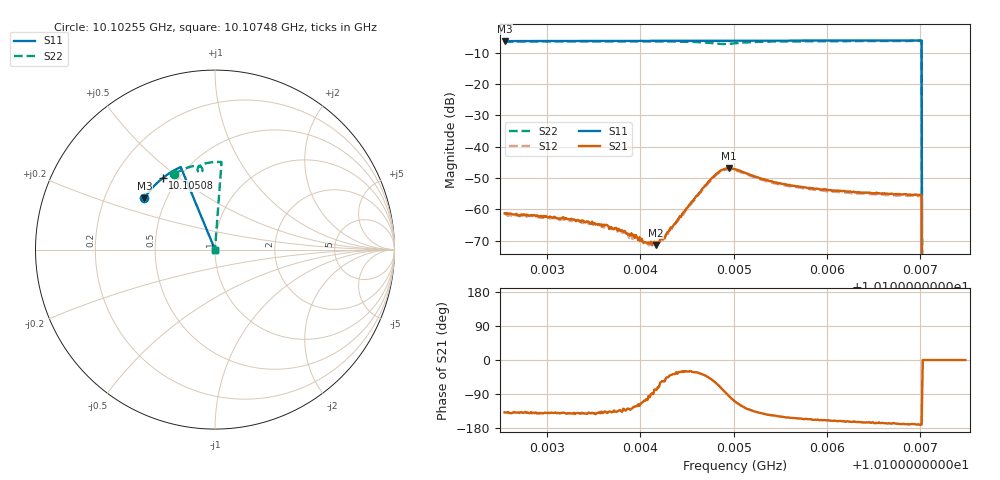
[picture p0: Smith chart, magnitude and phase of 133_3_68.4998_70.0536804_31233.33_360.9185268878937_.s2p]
#  HZ  S  RI  R  50.00
! Rohde & Schwarz Vector Network Analyzer
! Rohde-Schwarz,ZNB20-2Port,1311601062101988,3.16
! Created: UTC 3/20/2024, 5:09:43 PM
! freq[Hz]  re:S11  im:S11  re:S21  im:S21  re:S12  im:S12  re:S22  im:S22
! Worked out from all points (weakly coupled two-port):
!   401 points, 10.10255 GHz to 10.10748 GHz, reference 50 ohm
!   highest |S21| = -46.89 dB at 10.10495 GHz (marker M1); lowest = -71.4 dB at 10.10416 GHz (marker M2)
!   lowest |S11| = -6.3 dB at 10.10255 GHz (marker M3), VSWR 2.90, Z = 18.9 + j14.1 ohm
!   |S11| at or under -10 dB: 10.10701 GHz to end of sweep
!   |S22| runs from - to -6.2 dB; largest |S21 - S12| = 0.00046
!   S11 on the Smith chart (normalised r, x): 10.10255 GHz: 0.38, +0.28; 10.10508 GHz: 0.41, +0.44; 10.10748 GHz: 1.00, +0.00
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1.0102545e10  -0.3936 0.286  -0.000639 -0.000574  -0.000584 -0.000588  -0.2261 0.4222
1.0103076e10  -0.3751 0.3124  -0.000583 -0.000489  -0.00051 -0.000509  -0.1953 0.4388
1.0103372e10  -0.3638 0.3266  -0.000502 -0.000436  -0.000434 -0.000422  -0.1772 0.4472
1.0103631e10  -0.3538 0.3386  -0.000418 -0.000382  -0.000378 -0.000379  -0.1606 0.4538
1.0103779e10  -0.3477 0.3453  -0.000314 -0.000346  -0.000311 -0.000344  -0.1509 0.4572
1.0103927e10  -0.3417 0.3519  -0.000216 -0.000328  -0.00017 -0.000311  -0.1406 0.4606
1.0104051e10  -0.3366 0.3575  -8.98e-05 -0.000284  -6.54e-05 -0.000284  -0.1318 0.4629
1.0104125e10  -0.3333 0.3606  1.09e-05 -0.000272  2.09e-05 -0.000264  -0.1264 0.4644
1.0104162e10  -0.3318 0.3623  5.63e-05 -0.000264  9.83e-05 -0.000261  -0.1234 0.4648
1.0104199e10  -0.3301 0.3638  9.13e-05 -0.000276  0.000113 -0.000271  -0.1205 0.4652
1.0104261e10  -0.3275 0.3663  0.000195 -0.000294  0.00023 -0.000248  -0.1155 0.4662
1.0104754e10  -0.3052 0.3866  0.00195 -0.0023  0.00207 -0.00202  -0.0699 0.4479
1.0104853e10  -0.3008 0.3904  0.00136 -0.00385  0.00162 -0.00358  -0.0739 0.4329
1.0104952e10  -0.2963 0.3941  -0.000476 -0.0045  -4.78e-05 -0.00432  -0.0894 0.431
1.0105014e10  -0.2935 0.3964  -0.00146 -0.00409  -0.00102 -0.00408  -0.0958 0.4379
1.0105075e10  -0.2905 0.3989  -0.00202 -0.00352  -0.00168 -0.00354  -0.0974 0.4464
1.0105445e10  -0.2728 0.4126  -0.00226 -0.00145  -0.00206 -0.00158  -0.0725 0.474
1.010584e10  -0.2531 0.426  -0.00199 -0.000834  -0.00183 -0.000988  -0.0428 0.4829
1.0106667e10  -0.2098 0.451  -0.00172 -0.000396  -0.00161 -0.00052  0.0135 0.4884
1.0106988e10  -0.1922 0.4596  -0.00168 -0.000273  -0.00156 -0.000451  0.0347 0.4883
1.010705e10  0 0  0 0  0 0  0 0
1.0107482e10  0 0  0 0  0 0  0 0
